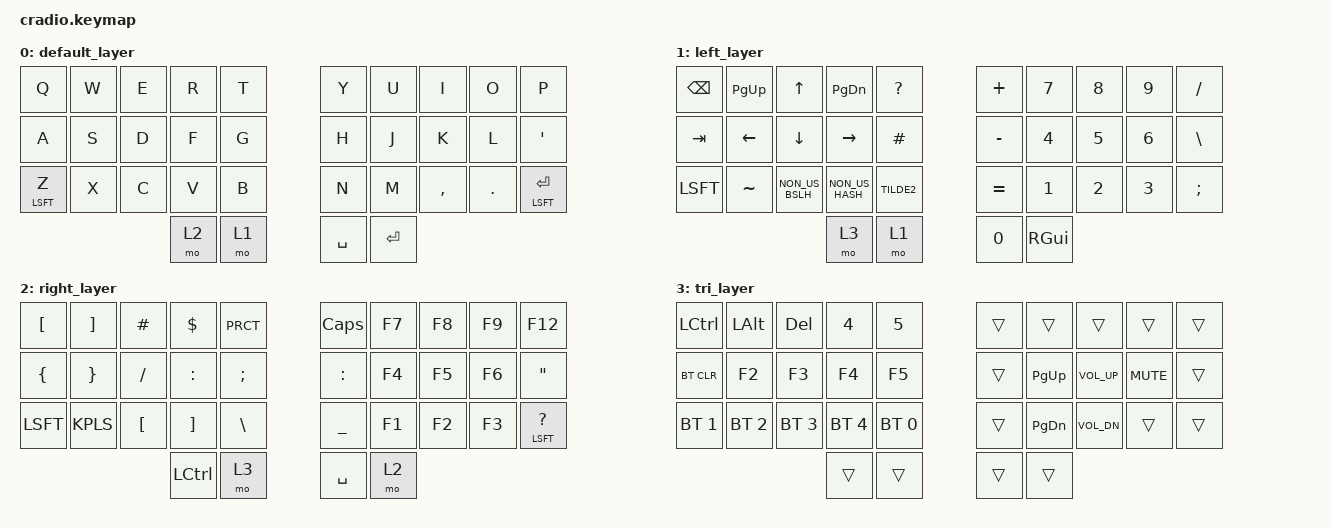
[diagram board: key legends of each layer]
/*
 * Copyright (c) 2020 The ZMK Contributors
 *
 * SPDX-License-Identifier: MIT
 */

#include <behaviors.dtsi>
#include <dt-bindings/zmk/keys.h>
#include <dt-bindings/zmk/bt.h>


&mt {
  //  flavor = "tap-preferred";
   // tapping_term_ms = <200>;
};

/ { 

    combos {
        compatible = "zmk,combos";
        
	combo_esc {
            timeout-ms = <50>;
            key-positions = <0 1>;
            bindings = <&kp ESC>;
        };
		
	combo_del {
            timeout-ms = <50>;
            key-positions = <18 19>;
            bindings = <&kp DEL>;
        };
        
        combo_tab {
            timeout-ms = <50>;
            key-positions = <10 11>;
            bindings = <&kp TAB>;
        };
        
        combo_ralt {
            timeout-ms = <50>;
            key-positions = <16 17>;
            bindings = <&kp RALT>;
        };
        
        combo_lalt {
            timeout-ms = <50>;
            key-positions = <12 13>;
            bindings = <&kp LALT>;
        };
        
        combo_lgui {
            timeout-ms = <50>;
            key-positions = <11 12>;
            bindings = <&kp LGUI>;
        };
        
        
        combo_rgui {
            timeout-ms = <50>;
            key-positions = <17 18>;
            bindings = <&kp RGUI>;
        };
          
	combo_lctl {
            timeout-ms = <50>;
            key-positions = <30 31>;
            bindings = <&kp LCTL>;
        };
      
        combo_rctl {
            timeout-ms = <50>;
            key-positions = <32 33>;
            bindings = <&kp RCTL>;
        };
      
    };

        keymap {
                compatible = "zmk,keymap";
                
       		default_layer {
		bindings = <
		&kp Q &kp W &kp E &kp R &kp T 						&kp Y &kp U  &kp I    &kp O   &kp P 
		&kp A &kp S &kp D &kp F &kp G 			        	        &kp H &kp J &kp K &kp L &kp QUOT
		&mt LSFT Z &kp X &kp C &kp V &kp B				        &kp N &kp M  &kp CMMA &kp DOT &mt LSFT RET
          				&mo 2 &mo 1  						&kp SPC &kp ENTER 
		>;
		};

       		left_layer {
		bindings = <
		&kp BSPC  &kp PG_UP    &kp UP    &kp PG_DN   &kp QMARK			&kp PLUS &kp NUM_7 &kp NUM_8 &kp NUM_9 &kp FSLH 
		&kp TAB    &kp LEFT    &kp DOWN      &kp RIGHT     &kp HASH 		&kp MINUS &kp NUM_4  &kp NUM_5 &kp NUM_6  &kp BSLH 
		&kp LSFT    &kp TILDE 	&kp NON_US_BSLH &kp NON_US_HASH  &kp TILDE2 	&kp EQUAL &kp NUM_1 &kp NUM_2 &kp NUM_3  &kp SCLN 
					    &mo 3  &mo 1  					&kp NUM_0 &kp RGUI 
		>;
		};
		
		right_layer {
		bindings = <
		&kp LBKT  &kp RBKT &kp HASH  &kp DLLR  &kp PRCT    			&kp CAPS  &kp F7 &kp F8 &kp F9 &kp F12 
		&kp LBRC  &kp RBRC  &kp FSLH  &kp COLN  &kp SCLN 			&kp COLN &kp F4  &kp F5  &kp F6   &kp DQT
		&kp LSFT  &kp KPLS &kp LBKT &kp RBKT   &kp BSLH    			&kp UNDER &kp F1 &kp F2 &kp F3  &mt LSFT QMARK
					  &kp LCTL &mo 3  					&kp SPC  &mo 2 
		>;
		};	
		
		tri_layer {
		bindings = <
		&kp LCTL  &kp LALT    &kp DEL    &kp NUM_4    &kp NUM_5 		&trans &trans   &trans   &trans  &trans
		&bt BT_CLR &kp F2 &kp F3 &kp F4 &kp F5  				&trans &kp PG_UP  &kp K_VOL_UP &kp K_MUTE &trans 
		&bt BT_SEL 1  &bt BT_SEL 2 &bt BT_SEL 3 &bt BT_SEL 4 &bt BT_SEL 0 	&trans &kp PG_DN  &kp K_VOL_DN  &trans &trans   
					 &trans &trans  					&trans &trans 
		>;
		};	
        
	};
};
